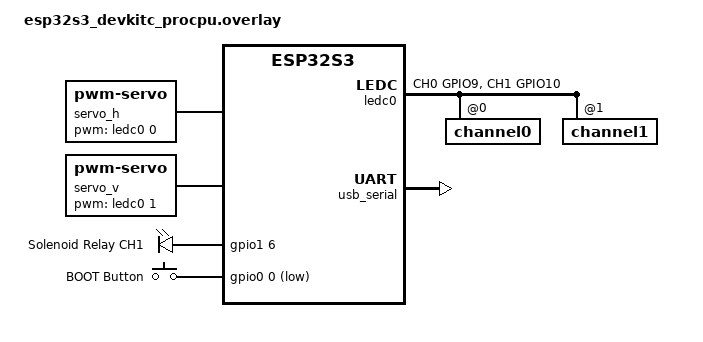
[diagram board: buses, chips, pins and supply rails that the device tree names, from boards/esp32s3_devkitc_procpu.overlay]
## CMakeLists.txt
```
cmake_minimum_required(VERSION 3.20.0)
find_package(Zephyr REQUIRED HINTS $ENV{ZEPHYR_BASE})
project(cyber_piercer)

target_sources(app PRIVATE
    src/main.c
    src/wifi_mgr.c
    src/track_client.c
    src/tune_shell.c
)
```

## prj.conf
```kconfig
# cyber_piercer prj.conf

CONFIG_PRINTK=y
CONFIG_CONSOLE=y
CONFIG_SERIAL=y

CONFIG_LOG=y
CONFIG_LOG_DEFAULT_LEVEL=3

CONFIG_GPIO=y
CONFIG_GPIO_INIT_PRIORITY=40

CONFIG_PWM=y

# ── PSRAM (WiFi alloc on PSRAM keeps DRAM free) ──
CONFIG_ESP_SPIRAM=y
CONFIG_SHARED_MULTI_HEAP=y
CONFIG_ESP_SPIRAM_HEAP_SIZE=4194304

# ── Networking ──
CONFIG_NETWORKING=y
CONFIG_NET_MGMT=y
CONFIG_NET_MGMT_EVENT=y
CONFIG_NET_MGMT_EVENT_INFO=y
CONFIG_NET_IPV4=y
CONFIG_NET_IPV6=n
CONFIG_NET_TCP=y
CONFIG_NET_UDP=y
CONFIG_NET_DHCPV4=y
CONFIG_NET_SOCKETS=y
CONFIG_POSIX_API=y

# ── DNS ──
CONFIG_DNS_RESOLVER=y
CONFIG_DNS_RESOLVER_AI_MAX_ENTRIES=2

# ── WiFi ──
CONFIG_WIFI=y
CONFIG_WIFI_NM=y
CONFIG_NET_L2_WIFI_MGMT=y
CONFIG_ESP32_WIFI_STA_AUTO_DHCPV4=y
CONFIG_ESP32_WIFI_STATIC_RX_BUFFER_NUM=4
CONFIG_ESP32_WIFI_DYNAMIC_RX_BUFFER_NUM=8
CONFIG_ESP32_WIFI_DYNAMIC_TX_BUFFER_NUM=8
CONFIG_ESP32_WIFI_NET_ALLOC_SPIRAM=y
CONFIG_ESP_WIFI_HEAP_SPIRAM=y

# ── Stack & buffers ──
CONFIG_MAIN_STACK_SIZE=8192
CONFIG_SYSTEM_WORKQUEUE_STACK_SIZE=4096
CONFIG_NET_TX_STACK_SIZE=2048
CONFIG_NET_RX_STACK_SIZE=2048
CONFIG_NET_MGMT_EVENT_STACK_SIZE=4096
CONFIG_NET_PKT_RX_COUNT=24
CONFIG_NET_PKT_TX_COUNT=10
CONFIG_NET_BUF_RX_COUNT=64
CONFIG_NET_BUF_TX_COUNT=24
CONFIG_NET_MAX_CONTEXTS=6
CONFIG_NET_MGMT_EVENT_QUEUE_TIMEOUT=5000
CONFIG_NET_MGMT_EVENT_QUEUE_SIZE=16

# ── Shell (运行时调参) ──
CONFIG_SHELL=y
CONFIG_SHELL_BACKEND_SERIAL=y
CONFIG_KERNEL_SHELL=n
CONFIG_SHELL_STACK_SIZE=4096

# ── NVS Settings (掉电保存参数) ──
CONFIG_FLASH=y
CONFIG_FLASH_MAP=y
CONFIG_NVS=y
CONFIG_SETTINGS=y
CONFIG_SETTINGS_NVS=y

# ── Heap ──
CONFIG_HEAP_MEM_POOL_SIZE=65536
```

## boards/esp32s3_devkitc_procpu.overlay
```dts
/* cyber_piercer DTS overlay — ESP32-S3-BOX(-3) on esp32s3_devkitc/esp32s3/procpu
 *
 * GPIO 分配:
 *   GPIO9  → 水平舵机 PWM (LEDC CH0)
 *   GPIO10 → 垂直舵机 PWM (LEDC CH1)
 *   GPIO38 → 继电器 IN1 (电磁推杆)
 *   GPIO0  → BOOT 按钮 (手动开炮)
 */

#include <zephyr/dt-bindings/pwm/pwm.h>
#include <zephyr/dt-bindings/gpio/gpio.h>
#include <dt-bindings/pinctrl/esp32s3-pinctrl.h>

/ {
	chosen {
		zephyr,console = &uart0;
		zephyr,shell-uart = &uart0;
	};

	/* ── 舵机节点 ── */
	servo_h: servo_h {
		compatible = "pwm-servo";
		pwms = <&ledc0 0 PWM_MSEC(20) PWM_POLARITY_NORMAL>;
		min-pulse = <PWM_USEC(500)>;
		max-pulse = <PWM_USEC(2500)>;
	};

	servo_v: servo_v {
		compatible = "pwm-servo";
		pwms = <&ledc0 1 PWM_MSEC(20) PWM_POLARITY_NORMAL>;
		min-pulse = <PWM_USEC(500)>;
		max-pulse = <PWM_USEC(2500)>;
	};

	/* ── 继电器（电磁推杆） ── */
	relays {
		compatible = "gpio-leds";
		relay0: relay0 {
			gpios = <&gpio1 6 GPIO_ACTIVE_HIGH>; /* GPIO38 */
			label = "Solenoid Relay CH1";
		};
	};

	/* ── 按钮 ── */
	buttons {
		compatible = "gpio-keys";
		boot_button: boot_button {
			gpios = <&gpio0 0 (GPIO_PULL_UP | GPIO_ACTIVE_LOW)>;
			label = "BOOT Button";
		};
	};

	aliases {
		sw0 = &boot_button;
		relay-fire = &relay0;
		servo-h = &servo_h;
		servo-v = &servo_v;
	};
};

/* ── LEDC PWM pinctrl ── */
&pinctrl {
	ledc0_default: ledc0_default {
		group1 {
			pinmux = <LEDC_CH0_GPIO9>,
				 <LEDC_CH1_GPIO10>;
			output-enable;
		};
	};
};

&ledc0 {
	pinctrl-0 = <&ledc0_default>;
	pinctrl-names = "default";
	status = "okay";
	#address-cells = <1>;
	#size-cells = <0>;

	channel0@0 {
		reg = <0x0>;
		timer = <0>;
	};

	channel1@1 {
		reg = <0x1>;
		timer = <0>;  /* 同一 timer，保证两路 PWM 频率一致 (50Hz) */
	};
};

&usb_serial {
	status = "okay";
};
```

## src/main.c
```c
/* cyber_piercer — 炮台控制主程序
 *
 * 功能:
 *   1) 上电后舵机回到默认位置 (H: 1500μs, V: 1463μs)
 *   2) 水平舵机: 自动左右扫描 (±45°) 或追踪模式
 *   3) 垂直舵机: 保持校准零点 (SERVO_V_CENTER=1463μs, 补偿上偏5°)
 *   4) 按 BOOT 键: 发射一次电磁推杆
 *   5) 串口打印实时角度 / 状态
 *
 * ENABLE_TRACKING=1: WiFi 连接 → PC server → 追踪目标
 * ENABLE_TRACKING=0: 使用原有的自动扫描模式
 *
 * Phase 1 测试: 仅水平舵机 — 注释 ENABLE_SERVO_V 和 ENABLE_SOLENOID
 * Phase 2 测试: 仅垂直舵机 — 注释 ENABLE_SERVO_H 和 ENABLE_SOLENOID
 * Phase 3 测试: 双舵机     — 注释 ENABLE_SOLENOID
 * Phase 4 测试: 仅推杆     — 注释 ENABLE_SERVO_H 和 ENABLE_SERVO_V
 * Phase 5 测试: 全部启用
 */

#include <zephyr/kernel.h>
#include <zephyr/drivers/pwm.h>
#include <zephyr/drivers/gpio.h>
#include <zephyr/logging/log.h>
#include <zephyr/settings/settings.h>

/* ── 阶段开关 (必须在条件 include 之前) ── */
#define ENABLE_SERVO_H    1   /* 水平舵机 */
#define ENABLE_SERVO_V    1   /* 垂直舵机 */
#define ENABLE_SOLENOID   0   /* 电磁推杆 (Phase 4+: 打开) */

#include "wifi_mgr.h"
#include "track_client.h"
#include "secrets.h"

#include "tune_params.h"

LOG_MODULE_REGISTER(cyber_piercer, LOG_LEVEL_INF);

/* ── 运行时可调参数 (初始值 = 原 #define 值) ── */
volatile struct tune_params g_tune = {
	.h_center       = 1722,   /* μs */
	.v_center       = 1389,   /* μs */
	.h_left         = 2200,   /* μs */
	.h_right        = 1200,   /* μs */
	.v_top          = 1700,   /* μs */
	.v_bottom       = 1100,   /* μs */
	.h_offset       = 22,     /* μs */
	.v_offset       = -74,    /* μs */
	.slew_rate      = 100,    /* μs/cycle */
	.interval_ms    = 20,     /* ms */
	.ema_num        = 3,
	.ema_den        = 20,
	.fire_cooldown_ms = 500,  /* ms */
	.fire_pulse_ms  = 80,     /* ms */
	.pid_kp         = 30,     /* ×0.01 μs/px */
	.pid_ki         = 5,      /* ×0.01 μs/(px·cycle) */
	.pid_kd         = 50,     /* ×0.01 μs·cycle/px */
	.pid_imax       = 3000,   /* px·cycles */
};

/* 默认启动模式: 校准 (舵机静止) */
volatile enum turret_mode g_mode = MODE_CALIBRATION;

/* 参数名表 */
const struct tune_param_entry tune_param_table[TUNE_PARAM_COUNT] = {
	[TUNE_H_CENTER]      = {"h_center",      TUNE_H_CENTER,      500, 2500, "us"},
	[TUNE_V_CENTER]      = {"v_center",      TUNE_V_CENTER,      500, 2500, "us"},
	[TUNE_H_LEFT]        = {"h_left",        TUNE_H_LEFT,        500, 2500, "us"},
	[TUNE_H_RIGHT]       = {"h_right",       TUNE_H_RIGHT,       500, 2500, "us"},
	[TUNE_V_TOP]         = {"v_top",         TUNE_V_TOP,         500, 2500, "us"},
	[TUNE_V_BOTTOM]      = {"v_bottom",      TUNE_V_BOTTOM,      500, 2500, "us"},
	[TUNE_H_OFFSET]      = {"h_offset",      TUNE_H_OFFSET,     -500,  500, "us"},
	[TUNE_V_OFFSET]      = {"v_offset",      TUNE_V_OFFSET,     -500,  500, "us"},
	[TUNE_SLEW_RATE]     = {"slew_rate",     TUNE_SLEW_RATE,      10,  500, "us/cyc"},
	[TUNE_INTERVAL]      = {"interval",      TUNE_INTERVAL,        5,  200, "ms"},
	[TUNE_EMA_NUM]       = {"ema_num",       TUNE_EMA_NUM,         1,   19, ""},
	[TUNE_EMA_DEN]       = {"ema_den",       TUNE_EMA_DEN,         2,  100, ""},
	[TUNE_FIRE_COOLDOWN] = {"fire_cooldown", TUNE_FIRE_COOLDOWN, 100, 5000, "ms"},
	[TUNE_FIRE_PULSE]    = {"fire_pulse",    TUNE_FIRE_PULSE,     20,  500, "ms"},
	[TUNE_PID_KP]        = {"pid_kp",        TUNE_PID_KP,          0,  200, ""},
	[TUNE_PID_KI]        = {"pid_ki",        TUNE_PID_KI,          0,   50, ""},
	[TUNE_PID_KD]        = {"pid_kd",        TUNE_PID_KD,          0,  200, ""},
	[TUNE_PID_IMAX]      = {"pid_imax",      TUNE_PID_IMAX,        0, 10000, ""},
};

/* ── DS3225 舵机参数 (固定常量) ── */
#define SERVO_PERIOD_NS   PWM_MSEC(20)            /* 50 Hz */
#define SERVO_MIN_PULSE   PWM_USEC(500)           /* 0° */
#define SERVO_MAX_PULSE   PWM_USEC(2500)          /* 270° */
#define SERVO_CENTER      PWM_USEC(g_tune.h_center) /* 水平中点 (运行时可调) */
#define SERVO_V_CENTER    PWM_USEC(g_tune.v_center) /* 垂直中点 (运行时可调) */
#define SERVO_STEP        PWM_USEC(50)            /* 每步增量 */
#define SERVO_STEP_MS     200                     /* 步进间隔 (ms) */

/* ── 扫描/追踪范围 (全范围 500-2500μs) ── */
#define SERVO_H_MIN       PWM_USEC(500)
#define SERVO_H_MAX       PWM_USEC(2500)

/* ── 电磁推杆参数 (运行时可调) ── */
#define PULSE_MS          (g_tune.fire_pulse_ms)
#define FIRE_COOLDOWN_MS  (g_tune.fire_cooldown_ms)

/* ── 设备树节点 ── */
#if ENABLE_SERVO_H
const struct pwm_dt_spec servo_h = PWM_DT_SPEC_GET(DT_ALIAS(servo_h));
#endif

#if ENABLE_SERVO_V
const struct pwm_dt_spec servo_v = PWM_DT_SPEC_GET(DT_ALIAS(servo_v));
#endif

#if ENABLE_SOLENOID
static const struct gpio_dt_spec relay =
	GPIO_DT_SPEC_GET(DT_ALIAS(relay_fire), gpios);
#endif

static const struct gpio_dt_spec button =
	GPIO_DT_SPEC_GET(DT_ALIAS(sw0), gpios);

/* ── 状态 ── */
static struct gpio_callback button_cb;
static struct k_work fire_work;
static atomic_t fire_count = ATOMIC_INIT(0);
static int64_t last_fire_time = -500; /* will use g_tune.fire_cooldown_ms at runtime */

/* ── 追踪参数 (运行时从 g_tune 读取) ── */
#define TRACK_FRAME_W     320   /* PC server 输出帧宽 */
#define TRACK_FRAME_H     240   /* PC server 输出帧高 */

/* 以下宏从 g_tune 实时读取 */
#define TRACK_SLEW_RATE   (g_tune.slew_rate)
#define TRACK_INTERVAL_MS (g_tune.interval_ms)
#define H_LEFT_PULSE      PWM_USEC(g_tune.h_left)
#define H_RIGHT_PULSE     PWM_USEC(g_tune.h_right)
#define TRACK_H_OFFSET    (g_tune.h_offset)
#define V_TOP_PULSE       PWM_USEC(g_tune.v_top)
#define V_BOTTOM_PULSE    PWM_USEC(g_tune.v_bottom)
#define TRACK_V_OFFSET    (g_tune.v_offset)
#define EMA_ALPHA_NUM     (g_tune.ema_num)
#define EMA_ALPHA_DEN     (g_tune.ema_den)

#define SERVO_V_MIN       PWM_USEC(800)
#define SERVO_V_MAX       PWM_USEC(2000)

/* 追踪状态 (track_client 回调线程 → main 循环, atomic 保证 SMP 可见性) */
static atomic_t track_cx = ATOMIC_INIT(-1);  /* -1 = 无目标 */
static atomic_t track_cy = ATOMIC_INIT(-1);

static void on_track_target(int cx, int cy, void *user)
{
	ARG_UNUSED(user);
	atomic_set(&track_cx, cx);
	atomic_set(&track_cy, cy);
}

/* WiFi/tracking 懒初始化标志 */
static bool wifi_initialized;

/* ── 辅助函数 ── */

/** 脉宽 → 近似角度 (0-270°, 中点 135°) */
static inline int pulse_to_deg(uint32_t pulse_ns)
{
	/* 500μs=0°, 2500μs=270° → deg = (pulse - 500000) * 270 / 2000000 */
	int32_t us = (int32_t)(pulse_ns / 1000);

	return (us - 500) * 270 / 2000;
}

static int servo_set(const struct pwm_dt_spec *spec, uint32_t pulse_ns,
		     const char *name)
{
	int ret = pwm_set_pulse_dt(spec, pulse_ns);

	if (ret < 0) {
		LOG_ERR("%s: pwm_set_pulse failed: %d", name, ret);
	}
	return ret;
}

/* ── tune_shell.c 调用: 立即应用中点到舵机 ── */
void tune_servo_apply_center(void)
{
#if ENABLE_SERVO_H
	servo_set(&servo_h, SERVO_CENTER, "tune_h");
#endif
#if ENABLE_SERVO_V
	servo_set(&servo_v, SERVO_V_CENTER, "tune_v");
#endif
}

#if ENABLE_SOLENOID
static void fire_once(const char *src)
{
	int n = atomic_inc(&fire_count) + 1;

	LOG_INF("FIRE #%d (%s, pulse=%dms)", n, src, PULSE_MS);
	gpio_pin_set_dt(&relay, 1);
	k_msleep(PULSE_MS);
	gpio_pin_set_dt(&relay, 0);
	last_fire_time = k_uptime_get();
}
#endif

static void fire_work_handler(struct k_work *w)
{
	ARG_UNUSED(w);
#if ENABLE_SOLENOID
	int64_t now = k_uptime_get();

	if ((now - last_fire_time) < FIRE_COOLDOWN_MS) {
		LOG_WRN("fire cooldown, ignored");
		return;
	}
	fire_once("button");
#else
	LOG_INF("BOOT pressed (solenoid disabled in this phase)");
#endif
}

static void button_isr(const struct device *port,
		       struct gpio_callback *cb,
		       gpio_port_pins_t pins)
{
	ARG_UNUSED(port);
	ARG_UNUSED(cb);
	ARG_UNUSED(pins);
	k_work_submit(&fire_work);
}

/* ── 初始化 ── */

static int init_button(void)
{
	int ret;

	if (!gpio_is_ready_dt(&button)) {
		LOG_ERR("button gpio not ready");
		return -ENODEV;
	}

	ret = gpio_pin_configure_dt(&button, GPIO_INPUT);
	if (ret) {
		LOG_ERR("button configure failed: %d", ret);
		return ret;
	}

	ret = gpio_pin_interrupt_configure_dt(&button, GPIO_INT_EDGE_TO_ACTIVE);
	if (ret) {
		LOG_ERR("button interrupt failed: %d", ret);
		return ret;
	}

	k_work_init(&fire_work, fire_work_handler);
	gpio_init_callback(&button_cb, button_isr, BIT(button.pin));
	gpio_add_callback(button.port, &button_cb);
	return 0;
}

int main(void)
{
	int ret;

	LOG_INF("=== CyberPiercer turret control ===");
	LOG_INF("Phase config: SERVO_H=%d  SERVO_V=%d  SOLENOID=%d  mode=%d",
		ENABLE_SERVO_H, ENABLE_SERVO_V, ENABLE_SOLENOID, (int)g_mode);

	/* ── NVS Settings: 加载保存的参数 ── */
	ret = settings_subsys_init();
	if (ret) {
		LOG_ERR("settings init failed: %d", ret);
	} else {
		ret = tune_params_load();
		if (ret) {
			LOG_WRN("settings load failed: %d (using defaults)", ret);
		} else {
			LOG_INF("NVS params loaded OK");
		}
	}

	/* ── 按钮 ── */
	ret = init_button();
	if (ret) {
		return ret;
	}

	/* ── 继电器 ── */
#if ENABLE_SOLENOID
	if (!gpio_is_ready_dt(&relay)) {
		LOG_ERR("relay gpio not ready");
		return -ENODEV;
	}
	ret = gpio_pin_configure_dt(&relay, GPIO_OUTPUT_INACTIVE);
	if (ret) {
		LOG_ERR("relay configure failed: %d", ret);
		return ret;
	}
	LOG_INF("relay ready: GPIO38 (ACTIVE_HIGH)");
#endif

	/* ── 水平舵机 ── */
#if ENABLE_SERVO_H
	if (!pwm_is_ready_dt(&servo_h)) {
		LOG_ERR("servo_h PWM not ready");
		return -ENODEV;
	}
	/* 回到中点 (正前方) */
	ret = servo_set(&servo_h, SERVO_CENTER, "servo_h");
	if (ret) {
		return ret;
	}
	LOG_INF("servo_h ready: GPIO9, center=%d°", pulse_to_deg(SERVO_CENTER));
#endif

	/* ── 垂直舵机 ── */
#if ENABLE_SERVO_V
	if (!pwm_is_ready_dt(&servo_v)) {
		LOG_ERR("servo_v PWM not ready");
		return -ENODEV;
	}
	ret = servo_set(&servo_v, SERVO_V_CENTER, "servo_v");
	if (ret) {
		return ret;
	}
	LOG_INF("servo_v ready: GPIO10, center=%d°", pulse_to_deg(SERVO_V_CENTER));
#endif

	LOG_INF("init complete. mode=%d (0=cal,1=track,2=scan)", g_mode);

	/* ── 主循环状态变量 ── */
	int32_t h_pulse = (int32_t)SERVO_CENTER;
	int32_t v_pulse = (int32_t)SERVO_V_CENTER;
	int32_t ema_cx = TRACK_FRAME_W / 2;
	int32_t ema_cy = TRACK_FRAME_H / 2;
	bool ema_h_init = false;
	bool ema_v_init = false;
	int med_buf_x[3] = {-1, -1, -1};
	int med_buf_y[3] = {-1, -1, -1};
	int med_idx_x = 0, med_idx_y = 0;
	int h_dir = 1;

	/* PID 状态 */
	int32_t pid_integral_h = 0, pid_integral_v = 0;
	int32_t pid_prev_err_h = 0, pid_prev_err_v = 0;
	int prev_mode = -1; /* 用于检测模式切换 */

	while (1) {
		/* 模式切换时重置 PID 状态 */
		if (g_mode == MODE_TRACKING && prev_mode != MODE_TRACKING) {
			ema_h_init = false;
			ema_v_init = false;
			med_idx_x = 0;
			med_idx_y = 0;
			pid_integral_h = 0;
			pid_integral_v = 0;
			pid_prev_err_h = 0;
			pid_prev_err_v = 0;
			h_pulse = (int32_t)SERVO_CENTER;
			v_pulse = (int32_t)SERVO_V_CENTER;
			atomic_set(&track_cx, -1);
			atomic_set(&track_cy, -1);
		}
		prev_mode = g_mode;

		switch (g_mode) {
		case MODE_CALIBRATION:
			/* 校准模式: 舵机静止在 center */
			k_msleep(100);
			break;

		case MODE_TRACKING:
			/* 懒初始化 WiFi + track_client */
			if (!wifi_initialized) {
				char ip[16];

				LOG_INF("TRACKING: connecting WiFi...");
				ret = wifi_mgr_connect_blocking(ip, sizeof(ip));
				if (ret) {
					LOG_ERR("WiFi failed: %d, back to calibration", ret);
					g_mode = MODE_CALIBRATION;
					break;
				}
				LOG_INF("WiFi OK, IP=%s", ip);

				ret = track_client_start(PC_SERVER_HOST, PC_SERVER_PORT,
							 on_track_target, NULL);
				if (ret) {
					LOG_ERR("track_client failed: %d, back to calibration", ret);
					g_mode = MODE_CALIBRATION;
					break;
				}
				LOG_INF("track client → " PC_SERVER_HOST ":%d", PC_SERVER_PORT);
				wifi_initialized = true;

				/* 重置追踪状态 */
				ema_h_init = false;
				ema_v_init = false;
				med_idx_x = 0;
				med_idx_y = 0;
				pid_integral_h = 0;
				pid_integral_v = 0;
				pid_prev_err_h = 0;
				pid_prev_err_v = 0;
				h_pulse = (int32_t)SERVO_CENTER;
				v_pulse = (int32_t)SERVO_V_CENTER;
			}

			/* PID 闭环追踪 (摄像头随动模式) */
			{
				int cx = (int)atomic_get(&track_cx);
				int cy = (int)atomic_get(&track_cy);
				int32_t h_diff = 0, v_diff = 0;
				int32_t slew = (int32_t)PWM_USEC(TRACK_SLEW_RATE);

				/* 水平 PID */
				if (cx >= 0) {
					med_buf_x[med_idx_x % 3] = cx;
					med_idx_x++;
					int med_cx;
					if (med_idx_x < 3) {
						med_cx = cx;
					} else {
						int a = med_buf_x[0], b = med_buf_x[1],
						    c = med_buf_x[2], t;
						if (a > b) { t = a; a = b; b = t; }
						if (b > c) { t = b; b = c; c = t; }
						if (a > b) { t = a; a = b; b = t; }
						med_cx = b;
					}
					if (!ema_h_init) {
						ema_cx = med_cx;
						ema_h_init = true;
					} else {
						ema_cx = (EMA_ALPHA_NUM * med_cx +
							  (EMA_ALPHA_DEN - EMA_ALPHA_NUM) * ema_cx) /
							 EMA_ALPHA_DEN;
					}

					/* PID: error = filtered_cx - center
					 * 正值 = 目标在右侧 = 需增大脉宽(向右) */
					int32_t err_h = ema_cx - (TRACK_FRAME_W / 2);
					pid_integral_h += err_h;
					if (pid_integral_h > g_tune.pid_imax)
						pid_integral_h = g_tune.pid_imax;
					else if (pid_integral_h < -g_tune.pid_imax)
						pid_integral_h = -g_tune.pid_imax;
					int32_t deriv_h = err_h - pid_prev_err_h;
					pid_prev_err_h = err_h;

					int32_t out_h = (g_tune.pid_kp * err_h +
							 g_tune.pid_ki * pid_integral_h +
							 g_tune.pid_kd * deriv_h) / 100;

					/* 转为 ns 并限幅 */
					h_diff = PWM_USEC(out_h);
					if (h_diff > slew) h_diff = slew;
					else if (h_diff < -slew) h_diff = -slew;

					if (h_diff != 0) {
						h_pulse += h_diff;
						if (h_pulse > (int32_t)SERVO_H_MAX)
							h_pulse = (int32_t)SERVO_H_MAX;
						if (h_pulse < (int32_t)SERVO_H_MIN)
							h_pulse = (int32_t)SERVO_H_MIN;
#if ENABLE_SERVO_H
						servo_set(&servo_h, (uint32_t)h_pulse, "servo_h");
#endif
					}
				} else {
					/* 无目标: 清零积分防漂移 */
					pid_integral_h = 0;
					pid_prev_err_h = 0;
				}

				/* 垂直 PID */
				if (cy >= 0) {
					med_buf_y[med_idx_y % 3] = cy;
					med_idx_y++;
					int med_cy;
					if (med_idx_y < 3) {
						med_cy = cy;
					} else {
						int a = med_buf_y[0], b = med_buf_y[1],
						    c = med_buf_y[2], t;
						if (a > b) { t = a; a = b; b = t; }
						if (b > c) { t = b; b = c; c = t; }
						if (a > b) { t = a; a = b; b = t; }
						med_cy = b;
					}
					if (!ema_v_init) {
						ema_cy = med_cy;
						ema_v_init = true;
					} else {
						ema_cy = (EMA_ALPHA_NUM * med_cy +
							  (EMA_ALPHA_DEN - EMA_ALPHA_NUM) * ema_cy) /
							 EMA_ALPHA_DEN;
					}

					/* PID: error = center - filtered_cy
					 * 正值 = 目标在上方 = 需增大脉宽(向上) */
					int32_t err_v = (TRACK_FRAME_H / 2) - ema_cy;
					pid_integral_v += err_v;
					if (pid_integral_v > g_tune.pid_imax)
						pid_integral_v = g_tune.pid_imax;
					else if (pid_integral_v < -g_tune.pid_imax)
						pid_integral_v = -g_tune.pid_imax;
					int32_t deriv_v = err_v - pid_prev_err_v;
					pid_prev_err_v = err_v;

					int32_t out_v = (g_tune.pid_kp * err_v +
							 g_tune.pid_ki * pid_integral_v +
							 g_tune.pid_kd * deriv_v) / 100;

					v_diff = PWM_USEC(out_v);
					if (v_diff > slew) v_diff = slew;
					else if (v_diff < -slew) v_diff = -slew;

					if (v_diff != 0) {
						v_pulse += v_diff;
						if (v_pulse > (int32_t)SERVO_V_MAX)
							v_pulse = (int32_t)SERVO_V_MAX;
						if (v_pulse < (int32_t)SERVO_V_MIN)
							v_pulse = (int32_t)SERVO_V_MIN;
#if ENABLE_SERVO_V
						servo_set(&servo_v, (uint32_t)v_pulse, "servo_v");
#endif
					}
				} else {
					pid_integral_v = 0;
					pid_prev_err_v = 0;
				}

				/* 自动发射 */
#if ENABLE_SOLENOID
				if (cx >= 0 && cy >= 0 && h_diff == 0 && v_diff == 0) {
					int64_t now = k_uptime_get();
					if ((now - last_fire_time) >= FIRE_COOLDOWN_MS) {
						fire_once("track");
					}
				}
#endif
				if (g_telem_enabled) {
					LOG_INF("TRK cx=%d cy=%d H=%uus%c V=%uus%c",
						cx, cy,
						(uint32_t)h_pulse / 1000,
						h_diff != 0 ? 'M' : '.',
						(uint32_t)v_pulse / 1000,
						v_diff != 0 ? 'M' : '.');
				}
			}
			k_msleep(TRACK_INTERVAL_MS);
			break;

		case MODE_SCAN:
			/* 扫描模式 */
#if ENABLE_SERVO_H
			h_pulse += h_dir * (int32_t)SERVO_STEP;
			if (h_pulse >= (int32_t)SERVO_H_MAX) {
				h_pulse = (int32_t)SERVO_H_MAX;
				h_dir = -1;
			} else if (h_pulse <= (int32_t)SERVO_H_MIN) {
				h_pulse = (int32_t)SERVO_H_MIN;
				h_dir = 1;
			}
			servo_set(&servo_h, (uint32_t)h_pulse, "servo_h");
#endif
			k_msleep(SERVO_STEP_MS);
			break;
		}
	}

	return 0;
}
```

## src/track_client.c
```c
  /*
 * smart_camera /track NDJSON client.
 *
 * Connects to http://<host>:<port>/track and parses one JSON object per line.
 * Each line looks like:    {"seq":N,"cx":X,"cy":Y}\n
 * cx==-1 means no target.
 */

#include <zephyr/kernel.h>
#include <zephyr/logging/log.h>
#include <zephyr/net/socket.h>
#include <string.h>
#include <stdio.h>
#include <stdlib.h>
#include <errno.h>

#include "track_client.h"

LOG_MODULE_REGISTER(track_client, LOG_LEVEL_INF);

#define TRACK_THREAD_STACK 3072
#define TRACK_THREAD_PRIO  7
#define LINE_BUF_SIZE      256
#define BACKOFF_MS         2000

static K_THREAD_STACK_DEFINE(track_stack, TRACK_THREAD_STACK);
static struct k_thread track_thread;

struct track_cfg {
	const char *host;
	uint16_t port;
	track_target_cb_t cb;
	void *user;
};

static struct track_cfg cfg;

static int tcp_connect(const char *host, uint16_t port)
{
	struct zsock_addrinfo hints = {
		.ai_family = AF_INET,
		.ai_socktype = SOCK_STREAM,
	};
	struct zsock_addrinfo *res = NULL;
	char port_str[8];
	int sock, ret;

	snprintk(port_str, sizeof(port_str), "%u", port);
	ret = zsock_getaddrinfo(host, port_str, &hints, &res);
	if (ret || !res) {
		LOG_ERR("DNS %s: %d", host, ret);
		return -EHOSTUNREACH;
	}
	sock = zsock_socket(AF_INET, SOCK_STREAM, IPPROTO_TCP);
	if (sock < 0) {
		zsock_freeaddrinfo(res);
		return -errno;
	}
	ret = zsock_connect(sock, res->ai_addr, res->ai_addrlen);
	zsock_freeaddrinfo(res);
	if (ret < 0) {
		zsock_close(sock);
		return -errno;
	}
	return sock;
}

static int send_get(int sock, const char *host, uint16_t port)
{
	char req[160];
	int len = snprintk(req, sizeof(req),
			   "GET /track HTTP/1.0\r\n"
			   "Host: %s:%u\r\n"
			   "Accept: */*\r\n"
			   "\r\n",
			   host, port);
	int sent = 0;
	while (sent < len) {
		int n = zsock_send(sock, req + sent, len - sent, 0);
		if (n <= 0) return -errno;
		sent += n;
	}
	return 0;
}

/* Read until "\r\n\r\n" (end of HTTP response headers). */
static int skip_headers(int sock)
{
	uint8_t window[4] = {0};
	while (1) {
		uint8_t b;
		int n = zsock_recv(sock, &b, 1, 0);
		if (n <= 0) return -EPIPE;
		window[0] = window[1];
		window[1] = window[2];
		window[2] = window[3];
		window[3] = b;
		if (window[0] == '\r' && window[1] == '\n' &&
		    window[2] == '\r' && window[3] == '\n') {
			return 0;
		}
	}
}

/* Naive JSON {"seq":N,"cx":X,"cy":Y} parser. Returns 0 and fills *cx/*cy
 * (or -1 for no target).
 */
static int parse_line(const char *line, int *cx, int *cy)
{
	const char *p = strstr(line, "\"cx\":");
	if (!p) return -EINVAL;
	*cx = atoi(p + 5);
	p = strstr(line, "\"cy\":");
	if (!p) return -EINVAL;
	*cy = atoi(p + 5);
	return 0;
}

static void session(int sock)
{
	if (send_get(sock, cfg.host, cfg.port) < 0) return;
	if (skip_headers(sock) < 0) return;

	char line[LINE_BUF_SIZE];
	size_t pos = 0;
	while (1) {
		uint8_t b;
		int n = zsock_recv(sock, &b, 1, 0);
		if (n <= 0) return;
		if (b == '\n') {
			line[pos] = '\0';
			int cx = -1, cy = -1;
			if (parse_line(line, &cx, &cy) == 0 && cfg.cb) {
				cfg.cb(cx, cy, cfg.user);
			}
			pos = 0;
		} else if (pos < sizeof(line) - 1) {
			line[pos++] = (char)b;
		} else {
			pos = 0; /* line too long, drop */
		}
	}
}

static void track_task(void *p1, void *p2, void *p3)
{
	ARG_UNUSED(p1); ARG_UNUSED(p2); ARG_UNUSED(p3);
	while (1) {
		int sock = tcp_connect(cfg.host, cfg.port);
		if (sock < 0) {
			k_msleep(BACKOFF_MS);
			continue;
		}
		LOG_INF("track connected %s:%u", cfg.host, cfg.port);
		session(sock);
		zsock_close(sock);
		LOG_WRN("track disconnected, retry in %d ms", BACKOFF_MS);
		k_msleep(BACKOFF_MS);
	}
}

int track_client_start(const char *host, uint16_t port,
		       track_target_cb_t cb, void *user)
{
	cfg.host = host;
	cfg.port = port;
	cfg.cb = cb;
	cfg.user = user;
	k_thread_create(&track_thread, track_stack,
			K_THREAD_STACK_SIZEOF(track_stack),
			track_task, NULL, NULL, NULL,
			TRACK_THREAD_PRIO, 0, K_NO_WAIT);
	k_thread_name_set(&track_thread, "track");
	return 0;
}
```

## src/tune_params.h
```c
/*
 * tune_params.h — 运行时可调参数（共享定义）
 *
 * main.c 定义这些变量, tune_shell.c 通过 extern 访问并修改。
 * 舵机参数单位为微秒 (μs)，由 PWM_USEC() 宏转换为纳秒；
 * 控制/发射参数单位为毫秒 (ms)。
 */
#ifndef TUNE_PARAMS_H_
#define TUNE_PARAMS_H_

#include <zephyr/kernel.h>
#include <zephyr/drivers/pwm.h>

/* ── 参数结构体 ── */
struct tune_params {
	/* 舵机中点 (ns) */
	int32_t h_center;
	int32_t v_center;

	/* 水平映射范围 (ns) */
	int32_t h_left;      /* cx=0 时脉宽 */
	int32_t h_right;     /* cx=FRAME_W 时脉宽 */

	/* 垂直映射范围 (ns) */
	int32_t v_top;       /* cy=0 时脉宽 */
	int32_t v_bottom;    /* cy=FRAME_H 时脉宽 */

	/* 视差补偿 (μs, 存储时乘1000转ns) */
	int32_t h_offset;    /* μs */
	int32_t v_offset;    /* μs */

	/* 控制参数 */
	int32_t slew_rate;   /* μs/cycle */
	int32_t interval_ms; /* ms */
	int32_t ema_num;     /* EMA 分子 */
	int32_t ema_den;     /* EMA 分母 */

	/* 发射参数 */
	int32_t fire_cooldown_ms;
	int32_t fire_pulse_ms;

	/* PID 闭环追踪参数 (摄像头随动模式) */
	int32_t pid_kp;      /* 比例增益 (实际 Kp = pid_kp / 100) */
	int32_t pid_ki;      /* 积分增益 (实际 Ki = pid_ki / 100) */
	int32_t pid_kd;      /* 微分增益 (实际 Kd = pid_kd / 100) */
	int32_t pid_imax;    /* 积分限幅 (px·cycles) */
};

/* 全局参数实例 (main.c 中定义) */
extern volatile struct tune_params g_tune;

/* 参数 ID 枚举 (用于 shell 命令) */
enum tune_param_id {
	TUNE_H_CENTER,
	TUNE_V_CENTER,
	TUNE_H_LEFT,
	TUNE_H_RIGHT,
	TUNE_V_TOP,
	TUNE_V_BOTTOM,
	TUNE_H_OFFSET,
	TUNE_V_OFFSET,
	TUNE_SLEW_RATE,
	TUNE_INTERVAL,
	TUNE_EMA_NUM,
	TUNE_EMA_DEN,
	TUNE_FIRE_COOLDOWN,
	TUNE_FIRE_PULSE,
	TUNE_PID_KP,
	TUNE_PID_KI,
	TUNE_PID_KD,
	TUNE_PID_IMAX,
	TUNE_PARAM_COUNT,
};

/* 参数名 ↔ ID 映射表 */
struct tune_param_entry {
	const char *name;
	enum tune_param_id id;
	int32_t min_val;
	int32_t max_val;
	const char *unit;
};

extern const struct tune_param_entry tune_param_table[TUNE_PARAM_COUNT];

/* 遥测开关 (tune_shell.c 中定义) */
extern volatile bool g_telem_enabled;

/* 立即应用中点参数到舵机 (main.c 中定义) */
void tune_servo_apply_center(void);

/* NVS 持久化 (tune_shell.c 中定义) */
int tune_params_save(void);
int tune_params_load(void);

/* ── 运行模式 ── */
enum turret_mode {
	MODE_CALIBRATION = 0,
	MODE_TRACKING    = 1,
	MODE_SCAN        = 2,
};

/* 全局运行模式 (main.c 中定义, shell 可切换) */
extern volatile enum turret_mode g_mode;

#endif /* TUNE_PARAMS_H_ */
```

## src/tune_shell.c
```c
/*
 * tune_shell.c — Zephyr Shell 命令：运行时参数调整 + 遥测输出 + NVS 持久化
 *
 * 命令:
 *   tune get [param]      — 查询参数（省略 param 则显示全部）
 *   tune set <param> <val> — 设置参数
 *   tune apply            — 立即将 center 值应用到舵机
 *   tune telem <on|off>   — 开启/关闭遥测输出
 *   tune save             — 保存全部参数到 NVS flash
 */

#include <zephyr/shell/shell.h>
#include <zephyr/settings/settings.h>
#include <stdlib.h>
#include <string.h>
#include "tune_params.h"

/* 遥测开关 */
volatile bool g_telem_enabled;

/* 前向声明 */
static volatile int32_t *param_ptr(enum tune_param_id id);

/* ── NVS Settings handler ── */

static int tune_settings_set(const char *name, size_t len,
			     settings_read_cb read_cb, void *cb_arg)
{
	for (int i = 0; i < TUNE_PARAM_COUNT; i++) {
		if (strcmp(name, tune_param_table[i].name) == 0) {
			int32_t val;

			if (len != sizeof(val)) {
				return -EINVAL;
			}
			int rc = read_cb(cb_arg, &val, sizeof(val));

			if (rc < 0) {
				return rc;
			}
			/* 范围校验: 防止 NVS 损坏数据加载越界值 */
			if (val < tune_param_table[i].min_val ||
			    val > tune_param_table[i].max_val) {
				return -EINVAL;
			}
			volatile int32_t *p = param_ptr(tune_param_table[i].id);

			if (p) {
				*p = val;
			}
			return 0;
		}
	}
	return -ENOENT;
}

static int tune_settings_export(int (*cb)(const char *name,
					  const void *value, size_t val_len))
{
	for (int i = 0; i < TUNE_PARAM_COUNT; i++) {
		volatile int32_t *p = param_ptr(tune_param_table[i].id);

		if (p) {
			char key[32];
			int32_t val = *p;

			snprintf(key, sizeof(key), "tune/%s",
				 tune_param_table[i].name);
			(void)cb(key, &val, sizeof(val));
		}
	}
	return 0;
}

SETTINGS_STATIC_HANDLER_DEFINE(tune, "tune", NULL,
			       tune_settings_set, NULL,
			       tune_settings_export);

int tune_params_save(void)
{
	return settings_save();
}

int tune_params_load(void)
{
	return settings_load_subtree("tune");
}

/* ── 参数读写辅助 ── */

static volatile int32_t *param_ptr(enum tune_param_id id)
{
	switch (id) {
	case TUNE_H_CENTER:      return &g_tune.h_center;
	case TUNE_V_CENTER:      return &g_tune.v_center;
	case TUNE_H_LEFT:        return &g_tune.h_left;
	case TUNE_H_RIGHT:       return &g_tune.h_right;
	case TUNE_V_TOP:         return &g_tune.v_top;
	case TUNE_V_BOTTOM:      return &g_tune.v_bottom;
	case TUNE_H_OFFSET:      return &g_tune.h_offset;
	case TUNE_V_OFFSET:      return &g_tune.v_offset;
	case TUNE_SLEW_RATE:     return &g_tune.slew_rate;
	case TUNE_INTERVAL:      return &g_tune.interval_ms;
	case TUNE_EMA_NUM:       return &g_tune.ema_num;
	case TUNE_EMA_DEN:       return &g_tune.ema_den;
	case TUNE_FIRE_COOLDOWN: return &g_tune.fire_cooldown_ms;
	case TUNE_FIRE_PULSE:    return &g_tune.fire_pulse_ms;
	case TUNE_PID_KP:        return &g_tune.pid_kp;
	case TUNE_PID_KI:        return &g_tune.pid_ki;
	case TUNE_PID_KD:        return &g_tune.pid_kd;
	case TUNE_PID_IMAX:      return &g_tune.pid_imax;
	default:                 return NULL;
	}
}

static const struct tune_param_entry *find_param(const char *name)
{
	for (int i = 0; i < TUNE_PARAM_COUNT; i++) {
		if (strcmp(tune_param_table[i].name, name) == 0) {
			return &tune_param_table[i];
		}
	}
	return NULL;
}

/* ── shell 命令: tune get ── */
static int cmd_tune_get(const struct shell *sh, size_t argc, char **argv)
{
	if (argc >= 2) {
		/* tune get <param> */
		const struct tune_param_entry *e = find_param(argv[1]);

		if (!e) {
			shell_error(sh, "Unknown param: %s", argv[1]);
			return -EINVAL;
		}
		volatile int32_t *p = param_ptr(e->id);

		shell_print(sh, "$P %s=%d %s", e->name, (int)*p, e->unit);
	} else {
		/* tune get — 显示全部, 每行一个, 用 $P 前缀方便机器解析 */
		for (int i = 0; i < TUNE_PARAM_COUNT; i++) {
			volatile int32_t *p = param_ptr(tune_param_table[i].id);

			shell_print(sh, "$P %s=%d %s",
				    tune_param_table[i].name, (int)*p,
				    tune_param_table[i].unit);
		}
	}
	return 0;
}

/* ── shell 命令: tune set ── */
static int cmd_tune_set(const struct shell *sh, size_t argc, char **argv)
{
	if (argc < 3) {
		shell_error(sh, "Usage: tune set <param> <value>");
		return -EINVAL;
	}

	const struct tune_param_entry *e = find_param(argv[1]);

	if (!e) {
		shell_error(sh, "Unknown param: %s", argv[1]);
		return -EINVAL;
	}

	char *endptr;
	long val = strtol(argv[2], &endptr, 10);

	if (*endptr != '\0') {
		shell_error(sh, "Invalid number: %s", argv[2]);
		return -EINVAL;
	}

	if (val < e->min_val || val > e->max_val) {
		shell_error(sh, "%s: value %ld out of range [%d, %d]",
			    e->name, val, e->min_val, e->max_val);
		return -ERANGE;
	}

	/* EMA 交叉校验: ema_num 必须 < ema_den */
	if (e->id == TUNE_EMA_NUM && val >= g_tune.ema_den) {
		shell_error(sh, "ema_num(%ld) must be < ema_den(%d)",
			    val, (int)g_tune.ema_den);
		return -ERANGE;
	}
	if (e->id == TUNE_EMA_DEN && val <= g_tune.ema_num) {
		shell_error(sh, "ema_den(%ld) must be > ema_num(%d)",
			    val, (int)g_tune.ema_num);
		return -ERANGE;
	}

	volatile int32_t *p = param_ptr(e->id);
	*p = (int32_t)val;

	shell_print(sh, "$OK %s=%d %s", e->name, (int)*p, e->unit);

	/* 如果改的是 center 参数，立即应用到舵机 */
	if (e->id == TUNE_H_CENTER || e->id == TUNE_V_CENTER) {
		tune_servo_apply_center();
		shell_print(sh, "$APPLIED center → servo");
	}

	return 0;
}

/* ── shell 命令: tune apply ── */
static int cmd_tune_apply(const struct shell *sh, size_t argc, char **argv)
{
	ARG_UNUSED(argc);
	ARG_UNUSED(argv);
	tune_servo_apply_center();
	shell_print(sh, "$APPLIED h=%d v=%d", g_tune.h_center, g_tune.v_center);
	return 0;
}

/* ── shell 命令: tune save ── */
static int cmd_tune_save(const struct shell *sh, size_t argc, char **argv)
{
	ARG_UNUSED(argc);
	ARG_UNUSED(argv);
	int rc = tune_params_save();

	if (rc) {
		shell_error(sh, "$ERR save failed: %d", rc);
	} else {
		shell_print(sh, "$SAVED %d params to NVS", TUNE_PARAM_COUNT);
	}
	return rc;
}

/* ── shell 命令: tune telem ── */
static int cmd_tune_telem(const struct shell *sh, size_t argc, char **argv)
{
	if (argc < 2) {
		shell_print(sh, "telem=%s", g_telem_enabled ? "on" : "off");
		return 0;
	}
	if (strcmp(argv[1], "on") == 0) {
		g_telem_enabled = true;
		shell_print(sh, "$TELEM on");
	} else if (strcmp(argv[1], "off") == 0) {
		g_telem_enabled = false;
		shell_print(sh, "$TELEM off");
	} else {
		shell_error(sh, "Usage: tune telem <on|off>");
		return -EINVAL;
	}
	return 0;
}

/* ── tune mode 命令 ── */
static int cmd_tune_mode(const struct shell *sh, size_t argc, char **argv)
{
	if (argc < 2) {
		/* 查询当前模式 */
		const char *names[] = {"calibration", "tracking", "scan"};
		int m = (int)g_mode;

		if (m >= 0 && m <= 2) {
			shell_print(sh, "$MODE %s", names[m]);
		} else {
			shell_print(sh, "$MODE unknown(%d)", m);
		}
		return 0;
	}

	if (strcmp(argv[1], "calibration") == 0 || strcmp(argv[1], "cal") == 0) {
		g_mode = MODE_CALIBRATION;
	} else if (strcmp(argv[1], "tracking") == 0 || strcmp(argv[1], "track") == 0) {
		g_mode = MODE_TRACKING;
	} else if (strcmp(argv[1], "scan") == 0) {
		g_mode = MODE_SCAN;
	} else {
		shell_error(sh, "Usage: tune mode [calibration|tracking|scan]");
		return -EINVAL;
	}

	const char *names[] = {"calibration", "tracking", "scan"};

	shell_print(sh, "$MODE %s", names[(int)g_mode]);
	return 0;
}

/* ── 子命令注册 ── */
SHELL_STATIC_SUBCMD_SET_CREATE(sub_tune,
	SHELL_CMD_ARG(get, NULL, "Get param(s): tune get [name]",
		      cmd_tune_get, 1, 1),
	SHELL_CMD_ARG(set, NULL, "Set param: tune set <name> <value>",
		      cmd_tune_set, 3, 0),
	SHELL_CMD_ARG(apply, NULL, "Apply center to servos now",
		      cmd_tune_apply, 1, 0),
	SHELL_CMD_ARG(save, NULL, "Save all params to NVS flash",
		      cmd_tune_save, 1, 0),
	SHELL_CMD_ARG(telem, NULL, "Telemetry: tune telem <on|off>",
		      cmd_tune_telem, 1, 1),
	SHELL_CMD_ARG(mode, NULL, "Mode: tune mode [calibration|tracking|scan]",
		      cmd_tune_mode, 1, 1),
	SHELL_SUBCMD_SET_END
);

SHELL_CMD_REGISTER(tune, &sub_tune, "Runtime parameter tuning", NULL);
```

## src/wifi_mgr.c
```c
/*
 * smart_camera Wi-Fi manager.
 * Adapted from samples/boards/espressif/apps/new/cloud_ai/src/main.c.
 */

#include <zephyr/kernel.h>
#include <zephyr/logging/log.h>
#include <string.h>
#include <errno.h>

#include <zephyr/net/net_event.h>
#include <zephyr/net/net_if.h>
#include <zephyr/net/net_ip.h>
#include <zephyr/net/net_mgmt.h>
#include <zephyr/net/wifi.h>
#include <zephyr/net/wifi_mgmt.h>

#include "wifi_mgr.h"
#include "secrets.h"

LOG_MODULE_REGISTER(wifi_mgr, LOG_LEVEL_INF);

static struct net_if *sta_iface;
static struct net_mgmt_event_callback wifi_cb;
static struct net_mgmt_event_callback ipv4_cb;

static K_SEM_DEFINE(wifi_connected_sem, 0, 1);
static K_SEM_DEFINE(ipv4_ready_sem, 0, 1);
static K_SEM_DEFINE(scan_done_sem, 0, 1);

static void handle_wifi_event(struct net_mgmt_event_callback *cb,
			      uint64_t mgmt_event, struct net_if *iface)
{
	ARG_UNUSED(iface);

	if (mgmt_event == NET_EVENT_WIFI_SCAN_DONE) {
		k_sem_give(&scan_done_sem);
	} else if (mgmt_event == NET_EVENT_WIFI_CONNECT_RESULT) {
		if (cb->info && cb->info_length == sizeof(struct wifi_status)) {
			const struct wifi_status *status = cb->info;
			if (status->status == WIFI_STATUS_CONN_SUCCESS) {
				LOG_INF("WiFi connected to %s", WIFI_SSID);
				k_sem_give(&wifi_connected_sem);
			} else {
				LOG_ERR("WiFi connect failed: %d", status->status);
			}
		}
	} else if (mgmt_event == NET_EVENT_WIFI_DISCONNECT_RESULT) {
		LOG_WRN("WiFi disconnected");
	}
}

static void handle_ipv4_event(struct net_mgmt_event_callback *cb,
			      uint64_t mgmt_event, struct net_if *iface)
{
	ARG_UNUSED(cb);
	ARG_UNUSED(iface);

	if (mgmt_event == NET_EVENT_IPV4_ADDR_ADD) {
		k_sem_give(&ipv4_ready_sem);
	}
}

static int format_iface_ipv4(struct net_if *iface, char *out, size_t out_size)
{
	for (int i = 0; i < NET_IF_MAX_IPV4_ADDR; i++) {
		struct net_if_addr *if_addr = &iface->config.ip.ipv4->unicast[i].ipv4;

		if (!if_addr->is_used ||
		    if_addr->addr_type != NET_ADDR_DHCP) {
			continue;
		}
		if (!net_addr_ntop(AF_INET, &if_addr->address.in_addr,
				   out, out_size)) {
			return -EINVAL;
		}
		return 0;
	}
	return -ENOENT;
}

int wifi_mgr_connect_blocking(char *ip_str_out, size_t ip_str_size)
{
	struct wifi_connect_req_params params = {0};
	int ret;

	sta_iface = net_if_get_default();
	if (!sta_iface) {
		LOG_ERR("No default network interface");
		return -ENODEV;
	}

	net_mgmt_init_event_callback(&wifi_cb, handle_wifi_event,
				     NET_EVENT_WIFI_SCAN_DONE |
				     NET_EVENT_WIFI_CONNECT_RESULT |
				     NET_EVENT_WIFI_DISCONNECT_RESULT);
	net_mgmt_add_event_callback(&wifi_cb);

	net_mgmt_init_event_callback(&ipv4_cb, handle_ipv4_event,
				     NET_EVENT_IPV4_ADDR_ADD);
	net_mgmt_add_event_callback(&ipv4_cb);

	params.ssid = (const uint8_t *)WIFI_SSID;
	params.ssid_length = strlen(WIFI_SSID);
	params.psk = (const uint8_t *)WIFI_PSK;
	params.psk_length = strlen(WIFI_PSK);
	params.band = WIFI_FREQ_BAND_UNKNOWN;
	params.channel = WIFI_CHANNEL_ANY;
	params.security = WIFI_SECURITY_TYPE_PSK;
	params.mfp = WIFI_MFP_OPTIONAL;
	params.timeout = SYS_FOREVER_MS;

	LOG_INF("Scanning WiFi ...");
	for (int attempt = 1; attempt <= 10; attempt++) {
		ret = net_mgmt(NET_REQUEST_WIFI_SCAN, sta_iface, NULL, 0);
		if (ret == 0) {
			break;
		}
		k_msleep(500);
	}
	if (ret) {
		LOG_ERR("WiFi scan request failed: %d", ret);
		return ret;
	}
	if (k_sem_take(&scan_done_sem, K_SECONDS(15))) {
		LOG_ERR("WiFi scan timeout");
		return -ETIMEDOUT;
	}

	LOG_INF("Connecting to WiFi: %s ...", WIFI_SSID);
	ret = net_mgmt(NET_REQUEST_WIFI_CONNECT, sta_iface, &params,
		       sizeof(struct wifi_connect_req_params));
	if (ret) {
		LOG_ERR("WiFi connect request failed: %d", ret);
		return ret;
	}

	if (k_sem_take(&wifi_connected_sem, K_SECONDS(30))) {
		LOG_ERR("WiFi connect timeout");
		return -ETIMEDOUT;
	}

	LOG_INF("Waiting for IPv4 lease ...");
	if (k_sem_take(&ipv4_ready_sem, K_SECONDS(30))) {
		LOG_ERR("DHCPv4 timeout");
		return -ETIMEDOUT;
	}

	if (ip_str_out && ip_str_size > 0) {
		if (format_iface_ipv4(sta_iface, ip_str_out, ip_str_size) < 0) {
			snprintk(ip_str_out, ip_str_size, "?.?.?.?");
		}
	}

	return 0;
}
```

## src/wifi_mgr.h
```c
#ifndef SMART_CAMERA_WIFI_MGR_H_
#define SMART_CAMERA_WIFI_MGR_H_

#include <stdint.h>

/* Connect Wi-Fi STA, wait for IPv4 lease.
 *
 * On success, *ip_str_out (caller-provided buffer of at least 16 bytes)
 * is filled with the dotted IPv4 string. Returns 0 on success, negative errno.
 */
int wifi_mgr_connect_blocking(char *ip_str_out, size_t ip_str_size);

#endif /* SMART_CAMERA_WIFI_MGR_H_ */
```
